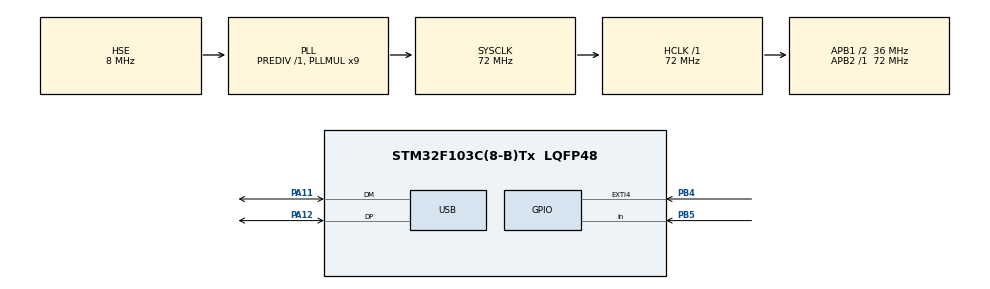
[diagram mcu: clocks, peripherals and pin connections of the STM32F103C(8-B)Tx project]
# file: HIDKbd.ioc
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Mcu.Family=STM32F1
Mcu.Name=STM32F103C(8-B)Tx
Mcu.Package=LQFP48
NVIC.EXTI4_IRQn=true\:0\:0\:false\:false\:true\:true\:true\:true
NVIC.PriorityGroup=NVIC_PRIORITYGROUP_4
NVIC.USB_LP_CAN1_RX0_IRQn=true\:0\:0\:false\:false\:true\:false\:true\:true
PA11.Mode=Device
PA11.Signal=USB_DM
PA12.Mode=Device
PA12.Signal=USB_DP
PA13.Mode=Serial_Wire
PA13.Signal=SYS_JTMS-SWDIO
PA14.Mode=Serial_Wire
PA14.Signal=SYS_JTCK-SWCLK
PB4.GPIO_ModeDefaultEXTI=GPIO_MODE_IT_FALLING
PB4.Signal=GPXTI4
PB5.Signal=GPIO_Input
PD0-OSC_IN.Mode=HSE-External-Oscillator
PD0-OSC_IN.Signal=RCC_OSC_IN
PD1-OSC_OUT.Mode=HSE-External-Oscillator
PD1-OSC_OUT.Signal=RCC_OSC_OUT
ProjectManager.HeapSize=0x200
ProjectManager.StackSize=0x400
ProjectManager.TargetToolchain=EWARM V8
RCC.AHBFreq_Value=72000000
RCC.APB1CLKDivider=RCC_HCLK_DIV2
RCC.APB1Freq_Value=36000000
RCC.APB1TimFreq_Value=72000000
RCC.APB2Freq_Value=72000000
RCC.APB2TimFreq_Value=72000000
RCC.EnbaleCSS=true
RCC.HCLKFreq_Value=72000000
RCC.PLLMUL=RCC_PLL_MUL9
RCC.PLLSourceVirtual=RCC_PLLSOURCE_HSE
RCC.SYSCLKFreq_VALUE=72000000
RCC.SYSCLKSource=RCC_SYSCLKSOURCE_PLLCLK
RCC.USBFreq_Value=48000000
RCC.USBPrescaler=RCC_USBCLKSOURCE_PLL_DIV1_5
USB_DEVICE.CLASS_NAME_FS=HID
USB_DEVICE.VirtualMode=Hid
USB_DEVICE.VirtualModeFS=Hid_FS
VP_USB_DEVICE_VS_USB_DEVICE_HID_FS.Mode=HID_FS
board=custom

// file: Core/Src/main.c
/* USER CODE BEGIN Header */
/**
  ******************************************************************************
  * @file           : main.c
  * @brief          : Main program body
  ******************************************************************************
  * @attention
  *
  * Copyright (c) 2023 STMicroelectronics.
  * All rights reserved.
  *
  * This software is licensed under terms that can be found in the LICENSE file
  * in the root directory of this software component.
  * If no LICENSE file comes with this software, it is provided AS-IS.
  *
  ******************************************************************************
  */
/* USER CODE END Header */
#include "main.h"
#include "usb_device.h"

/* USER CODE BEGIN PV */
uint16_t kbd_sequence = 0;
uint8_t bit_num = 0;
uint8_t action_int = 11;
uint8_t parity_bit = 0;
uint16_t kbd_code = 0;
/* USER CODE END PV */

void SystemClock_Config(void);
static void MX_GPIO_Init(void);

/* USER CODE BEGIN 0 */
void kbd_arbeit()
{
  uint8_t bit = HAL_GPIO_ReadPin(GPIOB, GPIO_PIN_5);
  switch (action_int)
  {
      case 11:
        if (!bit)
        {
          action_int = 0;
        }
        break;
  case 0 ... 7:
    if (bit)
    {
      kbd_sequence |= (1<<action_int);
      parity_bit++;
    }
    else
    {
      kbd_sequence &=~(1<<action_int);
    }
    action_int++;
    break;
  case 8:
    if (bit)
    {
      if (parity_bit & (1<<0))
      {
        action_int = 11;
      }
      else
      {
        action_int = 9;
      }
    }
    else
    {
      if (parity_bit & (1<<0))
      {
        action_int = 9;
      }
      else
      {
        action_int = 11;
      }
    }
    break;
  case 9:
    if (bit)
    {
      kbd_code = kbd_sequence;
      action_int = 11;
    }
    break;
  }
}
/* USER CODE END 0 */

int main(void)
{

  /* MCU Configuration--------------------------------------------------------*/

  /* Reset of all peripherals, Initializes the Flash interface and the Systick. */
  HAL_Init();

  /* Configure the system clock */
  SystemClock_Config();

  /* Initialize all configured peripherals */
  MX_GPIO_Init();
  MX_USB_DEVICE_Init();

  /* Infinite loop */
  while (1)
  {

  }
}

void SystemClock_Config(void)
{
  RCC_OscInitTypeDef RCC_OscInitStruct = {0};
  RCC_ClkInitTypeDef RCC_ClkInitStruct = {0};
  RCC_PeriphCLKInitTypeDef PeriphClkInit = {0};

  /** Initializes the RCC Oscillators according to the specified parameters
  * in the RCC_OscInitTypeDef structure.
  */
  RCC_OscInitStruct.OscillatorType = RCC_OSCILLATORTYPE_HSE;
  RCC_OscInitStruct.HSEState = RCC_HSE_ON;
  RCC_OscInitStruct.HSEPredivValue = RCC_HSE_PREDIV_DIV1;
  RCC_OscInitStruct.HSIState = RCC_HSI_ON;
  RCC_OscInitStruct.PLL.PLLState = RCC_PLL_ON;
  RCC_OscInitStruct.PLL.PLLSource = RCC_PLLSOURCE_HSE;
  RCC_OscInitStruct.PLL.PLLMUL = RCC_PLL_MUL9;
  if (HAL_RCC_OscConfig(&RCC_OscInitStruct) != HAL_OK)
  {
    Error_Handler();
  }

  /** Initializes the CPU, AHB and APB buses clocks
  */
  RCC_ClkInitStruct.ClockType = RCC_CLOCKTYPE_HCLK|RCC_CLOCKTYPE_SYSCLK
                              |RCC_CLOCKTYPE_PCLK1|RCC_CLOCKTYPE_PCLK2;
  RCC_ClkInitStruct.SYSCLKSource = RCC_SYSCLKSOURCE_PLLCLK;
  RCC_ClkInitStruct.AHBCLKDivider = RCC_SYSCLK_DIV1;
  RCC_ClkInitStruct.APB1CLKDivider = RCC_HCLK_DIV2;
  RCC_ClkInitStruct.APB2CLKDivider = RCC_HCLK_DIV1;

  if (HAL_RCC_ClockConfig(&RCC_ClkInitStruct, FLASH_LATENCY_2) != HAL_OK)
  {
    Error_Handler();
  }
  PeriphClkInit.PeriphClockSelection = RCC_PERIPHCLK_USB;
  PeriphClkInit.UsbClockSelection = RCC_USBCLKSOURCE_PLL_DIV1_5;
  if (HAL_RCCEx_PeriphCLKConfig(&PeriphClkInit) != HAL_OK)
  {
    Error_Handler();
  }

  /** Enables the Clock Security System
  */
  HAL_RCC_EnableCSS();
}

static void MX_GPIO_Init(void)
{
  GPIO_InitTypeDef GPIO_InitStruct = {0};

  /* GPIO Ports Clock Enable */
  __HAL_RCC_GPIOD_CLK_ENABLE();
  __HAL_RCC_GPIOA_CLK_ENABLE();
  __HAL_RCC_GPIOB_CLK_ENABLE();

  /*Configure GPIO pin : PB4 */
  GPIO_InitStruct.Pin = GPIO_PIN_4;
  GPIO_InitStruct.Mode = GPIO_MODE_IT_FALLING;
  GPIO_InitStruct.Pull = GPIO_NOPULL;
  HAL_GPIO_Init(GPIOB, &GPIO_InitStruct);

  /*Configure GPIO pin : PB5 */
  GPIO_InitStruct.Pin = GPIO_PIN_5;
  GPIO_InitStruct.Mode = GPIO_MODE_INPUT;
  GPIO_InitStruct.Pull = GPIO_NOPULL;
  HAL_GPIO_Init(GPIOB, &GPIO_InitStruct);

  /* EXTI interrupt init*/
  HAL_NVIC_SetPriority(EXTI4_IRQn, 0, 0);
  HAL_NVIC_EnableIRQ(EXTI4_IRQn);

}

void Error_Handler(void)
{
  __disable_irq();
  while (1)
  {
  }
}
